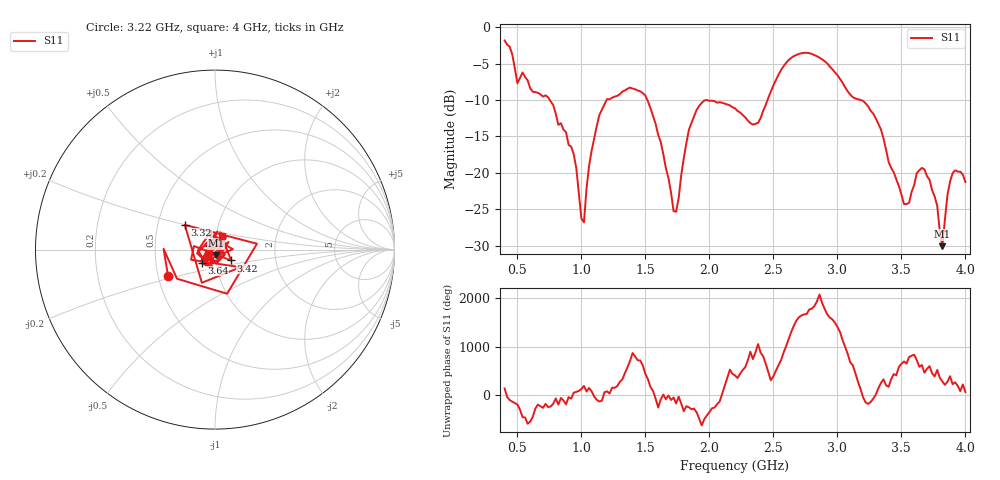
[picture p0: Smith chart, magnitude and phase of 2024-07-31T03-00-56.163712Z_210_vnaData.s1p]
!Created with skrf (http://scikit-rf.org).
# Hz S RI R 50.0
!freq ReS11 ImS11
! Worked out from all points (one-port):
!   181 points, 400 MHz to 4 GHz, reference 50 ohm
!   lowest |S11| = -30.0 dB at 3.82 GHz (marker M1), VSWR 1.07, Z = 50.5 - j3.12 ohm
!   |S11| at or under -10 dB: 753.1 MHz to 1.197 GHz (443.6 MHz wide, 45.5 % of centre); 1.515 GHz to 2.454 GHz (939 MHz wide, 47.3 % of centre); 3.182 GHz to end of sweep
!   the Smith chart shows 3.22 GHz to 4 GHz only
!   S11 on the Smith chart (normalised r, x): 3.22 GHz: 0.56, -0.18; 3.32 GHz: 0.69, +0.20; 3.42 GHz: 1.19, -0.15; 3.64 GHz: 0.85, -0.12; 4 GHz: 1.06, +0.17
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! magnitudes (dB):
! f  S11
! 400 MHz  -1.8
! 500 MHz  -7.7
! 740 MHz  -9.6
! 860 MHz  -14.1
! 940 MHz  -17.4
! 1.02 GHz  -26.8
! 1.06 GHz  -19.0
! 1.14 GHz  -12.1
! 1.3 GHz  -9.2
! 1.5 GHz  -9.4
! 1.62 GHz  -15.8
! 1.72 GHz  -25.2
! 1.76 GHz  -23.4
! 1.84 GHz  -14.1
! 1.92 GHz  -10.8
! 2.2 GHz  -11.1
! 2.38 GHz  -13.1
! 2.66 GHz  -4.0
! 3.1 GHz  -9.3
! 3.22 GHz  -10.5
! 3.32 GHz  -13.3
! 3.42 GHz  -19.3
! 3.56 GHz  -24.1
! 3.64 GHz  -19.6
! 3.76 GHz  -23.2
! 3.82 GHz  -30.0
! 3.9 GHz  -20.0
! 4 GHz  -21.2
